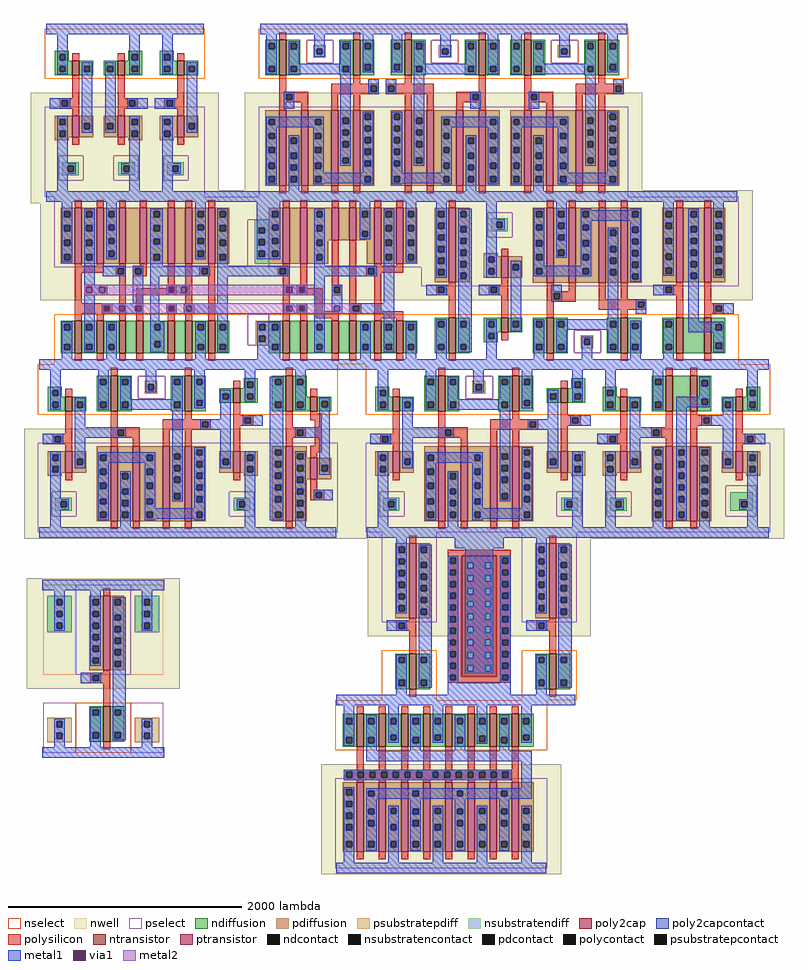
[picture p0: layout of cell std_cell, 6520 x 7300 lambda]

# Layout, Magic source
magic
tech amic5n
use inv_b  inv_b_2
transform 1 0 2810 0 1 -2880
box -130 -45 580 1495
use decap5  decap5_0
transform 1 0 3260 0 1 -2880
box -130 -45 880 1495
use inv_b  inv_b_3
transform 1 0 4010 0 1 -2880
box -130 -45 580 1495
use inv_b  inv_b_1
transform 1 0 185 0 1 -3330
box -130 -45 580 1495
use nwsx  nwsx_0
transform 1 0 635 0 1 -3330
box -130 -45 430 1495
use subc_2  subc_2_0
transform 1 0 -115 0 1 -3330
box -130 -45 430 1495
use buf_b  buf_b_0
transform -1 0 2410 0 -1 0
box -130 -45 730 1495
use and2_b  and2_b_0
transform 1 0 -140 0 -1 0
box -130 -45 2080 1495
use and2_b  and2_b_1
transform 1 0 2670 0 -1 0
box -130 -45 2080 1495
use nand2_b  nand2_b_0
transform 1 0 5100 0 1 0
box -130 -45 880 1495
use inv_b  inv_b_0
transform 1 0 3150 0 1 0
box -130 -45 580 1495
use inv_a  inv_a_0
transform 1 0 3600 0 1 0
box -130 -45 580 1495
use nor2_b  nor2_b_0
transform 1 0 4050 0 1 0
box -130 -45 1180 1495
use dff_b  dff_b_0
transform 1 0 0 0 1 0
box -130 -45 3280 1495
use inv_a  inv_a_3
transform 1 0 820 0 -1 2880
box -130 -45 580 1495
use inv_a  inv_a_2
transform -1 0 820 0 -1 2880
box -130 -45 580 1495
use inv_a  inv_a_1
transform 1 0 -80 0 -1 2880
box -130 -45 580 1495
use nor2_b  nor2_b_3
transform 1 0 3855 0 -1 2880
box -130 -45 1180 1495
use nor2_b  nor2_b_1
transform 1 0 1755 0 -1 2880
box -130 -45 1180 1495
use nor2_b  nor2_b_2
transform -1 0 3855 0 -1 2880
box -130 -45 1180 1495
use inv_d  inv_d_0
transform 1 0 2410 0 -1 -2880
box -130 -45 1930 1495
use or2_b  or2_b_0
transform 1 0 4620 0 -1 0
box -130 -45 1630 1495
<< end >>

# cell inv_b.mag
magic
tech amic5n
<< nwell >>
rect -130 550 580 1495
<< ntransistor >>
rect 225 95 285 400
<< ptransistor >>
rect 225 705 285 1345
<< nselect >>
rect -10 0 460 430
<< pselect >>
rect -10 670 460 1440
<< ndiffusion >>
rect 105 370 225 400
rect 105 320 135 370
rect 185 320 225 370
rect 105 175 225 320
rect 105 125 135 175
rect 185 125 225 175
rect 105 95 225 125
rect 285 370 405 400
rect 285 320 325 370
rect 375 320 405 370
rect 285 175 405 320
rect 285 125 325 175
rect 375 125 405 175
rect 285 95 405 125
<< pdiffusion >>
rect 105 1315 225 1345
rect 105 1265 135 1315
rect 185 1265 225 1315
rect 105 1215 225 1265
rect 105 1165 135 1215
rect 185 1165 225 1215
rect 105 1115 225 1165
rect 105 1065 135 1115
rect 185 1065 225 1115
rect 105 1015 225 1065
rect 105 965 135 1015
rect 185 965 225 1015
rect 105 915 225 965
rect 105 865 135 915
rect 185 865 225 915
rect 105 815 225 865
rect 105 765 135 815
rect 185 765 225 815
rect 105 705 225 765
rect 285 1315 405 1345
rect 285 1265 325 1315
rect 375 1265 405 1315
rect 285 1185 405 1265
rect 285 1135 325 1185
rect 375 1135 405 1185
rect 285 1085 405 1135
rect 285 1035 325 1085
rect 375 1035 405 1085
rect 285 985 405 1035
rect 285 935 325 985
rect 375 935 405 985
rect 285 885 405 935
rect 285 835 325 885
rect 375 835 405 885
rect 285 785 405 835
rect 285 735 325 785
rect 375 735 405 785
rect 285 705 405 735
<< ndcontact >>
rect 135 320 185 370
rect 135 125 185 175
rect 325 320 375 370
rect 325 125 375 175
<< pdcontact >>
rect 135 1265 185 1315
rect 135 1165 185 1215
rect 135 1065 185 1115
rect 135 965 185 1015
rect 135 865 185 915
rect 135 765 185 815
rect 325 1265 375 1315
rect 325 1135 375 1185
rect 325 1035 375 1085
rect 325 935 375 985
rect 325 835 375 885
rect 325 735 375 785
<< polysilicon >>
rect 225 1345 285 1410
rect 225 685 285 705
rect 115 665 285 685
rect 115 615 135 665
rect 185 615 285 665
rect 115 595 285 615
rect 225 400 285 595
rect 225 30 285 95
<< polycontact >>
rect 135 615 185 665
<< metal1 >>
rect 0 1395 450 1485
rect 115 1315 205 1395
rect 115 1265 135 1315
rect 185 1265 205 1315
rect 115 1215 205 1265
rect 115 1165 135 1215
rect 185 1165 205 1215
rect 115 1115 205 1165
rect 115 1065 135 1115
rect 185 1065 205 1115
rect 115 1015 205 1065
rect 115 965 135 1015
rect 185 965 205 1015
rect 115 915 205 965
rect 115 865 135 915
rect 185 865 205 915
rect 115 815 205 865
rect 115 765 135 815
rect 185 765 205 815
rect 115 745 205 765
rect 305 1315 420 1335
rect 305 1265 325 1315
rect 375 1265 420 1315
rect 305 1185 420 1265
rect 305 1135 325 1185
rect 375 1135 420 1185
rect 305 1085 420 1135
rect 305 1035 325 1085
rect 375 1035 420 1085
rect 305 985 420 1035
rect 305 935 325 985
rect 375 935 420 985
rect 305 885 420 935
rect 305 835 325 885
rect 375 835 420 885
rect 305 785 420 835
rect 305 735 325 785
rect 375 735 420 785
rect 30 665 205 685
rect 30 615 135 665
rect 185 615 205 665
rect 30 595 205 615
rect 115 370 205 390
rect 115 320 135 370
rect 185 320 205 370
rect 115 175 205 320
rect 115 125 135 175
rect 185 125 205 175
rect 115 45 205 125
rect 305 370 420 735
rect 305 320 325 370
rect 375 320 420 370
rect 305 175 420 320
rect 305 125 325 175
rect 375 125 420 175
rect 305 105 420 125
rect 0 -45 450 45
<< labels >>
flabel metal1 s 95 1415 95 1415 2 FreeSans 400 0 0 0 vdd
port 2 ne
flabel nwell 395 600 395 600 2 FreeSans 400 0 0 0 vdd
flabel metal1 s 335 470 335 470 2 FreeSans 400 0 0 0 z
port 0 ne
flabel metal1 s 5 5 5 5 2 FreeSans 400 0 0 0 vss
port 3 ne
flabel metal1 s 135 605 135 605 2 FreeSans 400 0 0 0 a
port 1 ne
<< properties >>
string LEFclass CORE
string LEFsite core
string FIXED_BBOX 0 0 450 1440
string LEFsymmetry X Y
<< end >>

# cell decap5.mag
magic
tech amic5n
<< nwell >>
rect -130 550 880 1495
rect 105 150 645 550
<< polysilicon >>
rect 105 1240 645 1290
rect 105 1220 225 1240
rect 105 1170 125 1220
rect 175 1170 225 1220
rect 525 1220 645 1240
rect 105 1120 225 1170
rect 525 1170 575 1220
rect 625 1170 645 1220
rect 105 1070 125 1120
rect 175 1070 225 1120
rect 525 1120 645 1170
rect 525 1070 575 1120
rect 625 1070 645 1120
rect 105 1020 225 1070
rect 525 1020 645 1070
rect 105 970 125 1020
rect 175 970 225 1020
rect 105 920 225 970
rect 525 970 575 1020
rect 625 970 645 1020
rect 105 870 125 920
rect 175 870 225 920
rect 525 920 645 970
rect 105 820 225 870
rect 525 870 575 920
rect 625 870 645 920
rect 105 770 125 820
rect 175 770 225 820
rect 525 820 645 870
rect 105 720 225 770
rect 525 770 575 820
rect 625 770 645 820
rect 105 670 125 720
rect 175 670 225 720
rect 525 720 645 770
rect 105 620 225 670
rect 525 670 575 720
rect 625 670 645 720
rect 105 570 125 620
rect 175 570 225 620
rect 525 620 645 670
rect 105 520 225 570
rect 525 570 575 620
rect 625 570 645 620
rect 525 520 645 570
rect 105 470 125 520
rect 175 470 225 520
rect 525 470 575 520
rect 625 470 645 520
rect 105 420 225 470
rect 105 370 125 420
rect 175 370 225 420
rect 525 420 645 470
rect 105 320 225 370
rect 525 370 575 420
rect 625 370 645 420
rect 105 270 125 320
rect 175 270 225 320
rect 525 320 645 370
rect 105 220 225 270
rect 525 270 575 320
rect 625 270 645 320
rect 105 170 125 220
rect 175 200 225 220
rect 525 220 645 270
rect 525 200 575 220
rect 175 170 575 200
rect 625 170 645 220
rect 105 150 645 170
<< polycontact >>
rect 125 1170 175 1220
rect 575 1170 625 1220
rect 125 1070 175 1120
rect 575 1070 625 1120
rect 125 970 175 1020
rect 575 970 625 1020
rect 125 870 175 920
rect 575 870 625 920
rect 125 770 175 820
rect 575 770 625 820
rect 125 670 175 720
rect 575 670 625 720
rect 125 570 175 620
rect 575 570 625 620
rect 125 470 175 520
rect 575 470 625 520
rect 125 370 175 420
rect 575 370 625 420
rect 125 270 175 320
rect 575 270 625 320
rect 125 170 175 220
rect 575 170 625 220
<< poly2cap >>
rect 225 1180 525 1240
rect 225 1130 275 1180
rect 325 1130 425 1180
rect 475 1130 525 1180
rect 225 1070 525 1130
rect 225 1020 275 1070
rect 325 1020 425 1070
rect 475 1020 525 1070
rect 225 960 525 1020
rect 225 910 275 960
rect 325 910 425 960
rect 475 910 525 960
rect 225 850 525 910
rect 225 800 275 850
rect 325 800 425 850
rect 475 800 525 850
rect 225 740 525 800
rect 225 690 275 740
rect 325 690 425 740
rect 475 690 525 740
rect 225 630 525 690
rect 225 580 275 630
rect 325 580 425 630
rect 475 580 525 630
rect 225 520 525 580
rect 225 470 275 520
rect 325 470 425 520
rect 475 470 525 520
rect 225 410 525 470
rect 225 360 275 410
rect 325 360 425 410
rect 475 360 525 410
rect 225 300 525 360
rect 225 250 275 300
rect 325 250 425 300
rect 475 250 525 300
rect 225 200 525 250
<< poly2capcontact >>
rect 275 1130 325 1180
rect 425 1130 475 1180
rect 275 1020 325 1070
rect 425 1020 475 1070
rect 275 910 325 960
rect 425 910 475 960
rect 275 800 325 850
rect 425 800 475 850
rect 275 690 325 740
rect 425 690 475 740
rect 275 580 325 630
rect 425 580 475 630
rect 275 470 325 520
rect 425 470 475 520
rect 275 360 325 410
rect 425 360 475 410
rect 275 250 325 300
rect 425 250 475 300
<< metal1 >>
rect 0 1395 750 1485
rect 165 1305 585 1395
rect 105 1220 195 1240
rect 105 1170 125 1220
rect 175 1170 195 1220
rect 105 1120 195 1170
rect 105 1070 125 1120
rect 175 1070 195 1120
rect 105 1020 195 1070
rect 105 970 125 1020
rect 175 970 195 1020
rect 105 920 195 970
rect 105 870 125 920
rect 175 870 195 920
rect 105 820 195 870
rect 105 770 125 820
rect 175 770 195 820
rect 105 720 195 770
rect 105 670 125 720
rect 175 670 195 720
rect 105 620 195 670
rect 105 570 125 620
rect 175 570 195 620
rect 105 520 195 570
rect 105 470 125 520
rect 175 470 195 520
rect 105 420 195 470
rect 105 370 125 420
rect 175 370 195 420
rect 105 320 195 370
rect 105 270 125 320
rect 175 270 195 320
rect 105 220 195 270
rect 255 1180 495 1305
rect 255 1130 275 1180
rect 325 1130 425 1180
rect 475 1130 495 1180
rect 255 1070 495 1130
rect 255 1020 275 1070
rect 325 1020 425 1070
rect 475 1020 495 1070
rect 255 960 495 1020
rect 255 910 275 960
rect 325 910 425 960
rect 475 910 495 960
rect 255 850 495 910
rect 255 800 275 850
rect 325 800 425 850
rect 475 800 495 850
rect 255 740 495 800
rect 255 690 275 740
rect 325 690 425 740
rect 475 690 495 740
rect 255 630 495 690
rect 255 580 275 630
rect 325 580 425 630
rect 475 580 495 630
rect 255 520 495 580
rect 255 470 275 520
rect 325 470 425 520
rect 475 470 495 520
rect 255 410 495 470
rect 255 360 275 410
rect 325 360 425 410
rect 475 360 495 410
rect 255 300 495 360
rect 255 250 275 300
rect 325 250 425 300
rect 475 250 495 300
rect 255 230 495 250
rect 555 1220 645 1240
rect 555 1170 575 1220
rect 625 1170 645 1220
rect 555 1120 645 1170
rect 555 1070 575 1120
rect 625 1070 645 1120
rect 555 1020 645 1070
rect 555 970 575 1020
rect 625 970 645 1020
rect 555 920 645 970
rect 555 870 575 920
rect 625 870 645 920
rect 555 820 645 870
rect 555 770 575 820
rect 625 770 645 820
rect 555 720 645 770
rect 555 670 575 720
rect 625 670 645 720
rect 555 620 645 670
rect 555 570 575 620
rect 625 570 645 620
rect 555 520 645 570
rect 555 470 575 520
rect 625 470 645 520
rect 555 420 645 470
rect 555 370 575 420
rect 625 370 645 420
rect 555 320 645 370
rect 555 270 575 320
rect 625 270 645 320
rect 105 170 125 220
rect 175 170 195 220
rect 105 150 195 170
rect 555 220 645 270
rect 555 170 575 220
rect 625 170 645 220
rect 555 150 645 170
rect 105 45 645 150
rect 0 -45 750 45
<< labels >>
flabel metal1 s 95 1415 95 1415 2 FreeSans 400 0 0 0 vdd
port 0 ne
flabel metal1 s 5 5 5 5 2 FreeSans 400 0 0 0 vss
port 1 ne
flabel nwell 5 580 5 580 2 FreeSans 400 0 0 0 vdd
<< properties >>
string LEFclass CORE
string LEFsite core
string FIXED_BBOX 0 0 750 1440
string LEFsymmetry X Y
<< end >>

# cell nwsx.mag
magic
tech amic5n
<< nwell >>
rect -130 550 430 1495
<< nselect >>
rect 10 670 290 1440
<< pselect >>
rect 10 0 290 430
<< psubstratepdiff >>
rect 45 270 255 300
rect 45 220 125 270
rect 175 220 255 270
rect 45 170 255 220
rect 45 120 125 170
rect 175 120 255 170
rect 45 90 255 120
<< nsubstratendiff >>
rect 45 1315 255 1345
rect 45 1265 125 1315
rect 175 1265 255 1315
rect 45 1215 255 1265
rect 45 1165 125 1215
rect 175 1165 255 1215
rect 45 1115 255 1165
rect 45 1065 125 1115
rect 175 1065 255 1115
rect 45 1035 255 1065
<< nsubstratencontact >>
rect 125 1265 175 1315
rect 125 1165 175 1215
rect 125 1065 175 1115
<< psubstratepcontact >>
rect 125 220 175 270
rect 125 120 175 170
<< metal1 >>
rect 0 1395 300 1485
rect 105 1315 195 1395
rect 105 1265 125 1315
rect 175 1265 195 1315
rect 105 1215 195 1265
rect 105 1165 125 1215
rect 175 1165 195 1215
rect 105 1115 195 1165
rect 105 1065 125 1115
rect 175 1065 195 1115
rect 105 1045 195 1065
rect 105 270 195 290
rect 105 220 125 270
rect 175 220 195 270
rect 105 170 195 220
rect 105 120 125 170
rect 175 120 195 170
rect 105 45 195 120
rect 0 -45 300 45
<< labels >>
flabel metal1 s 95 1415 95 1415 2 FreeSans 400 0 0 0 vdd
port 0 ne
flabel metal1 s 105 25 105 25 2 FreeSans 400 0 0 0 vss
port 1 ne
flabel nwell 10 575 10 575 2 FreeSans 400 0 0 0 vdd
<< properties >>
string FIXED_BBOX 0 0 300 1440
string LEFsite core
string LEFclass CORE
string LEFsymmetry X Y
<< end >>

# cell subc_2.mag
magic
tech amic5n
<< nwell >>
rect -130 550 430 1495
<< nselect >>
rect 10 670 290 1440
<< pselect >>
rect 10 0 290 430
<< psubstratepdiff >>
rect 45 270 255 300
rect 45 220 125 270
rect 175 220 255 270
rect 45 170 255 220
rect 45 120 125 170
rect 175 120 255 170
rect 45 90 255 120
<< nsubstratendiff >>
rect 45 1315 255 1345
rect 45 1265 125 1315
rect 175 1265 255 1315
rect 45 1215 255 1265
rect 45 1165 125 1215
rect 175 1165 255 1215
rect 45 1115 255 1165
rect 45 1065 125 1115
rect 175 1065 255 1115
rect 45 1035 255 1065
<< nsubstratencontact >>
rect 125 1265 175 1315
rect 125 1165 175 1215
rect 125 1065 175 1115
<< psubstratepcontact >>
rect 125 220 175 270
rect 125 120 175 170
<< metal1 >>
rect 0 1395 300 1485
rect 105 1315 195 1395
rect 105 1265 125 1315
rect 175 1265 195 1315
rect 105 1215 195 1265
rect 105 1165 125 1215
rect 175 1165 195 1215
rect 105 1115 195 1165
rect 105 1065 125 1115
rect 175 1065 195 1115
rect 105 1045 195 1065
rect 105 270 195 290
rect 105 220 125 270
rect 175 220 195 270
rect 105 170 195 220
rect 105 120 125 170
rect 175 120 195 170
rect 105 45 195 120
rect 0 -45 300 45
<< labels >>
flabel metal1 s 105 -25 105 -25 2 FreeSans 400 0 0 0 vss
port 12 ne
flabel metal1 s 95 1415 95 1415 2 FreeSans 400 0 0 0 vdd
port 11 ne
flabel nwell -80 575 -80 575 2 FreeSans 400 0 0 0 vdd
<< end >>

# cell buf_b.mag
magic
tech amic5n
<< nwell >>
rect -130 550 730 1495
<< ntransistor >>
rect 165 275 225 400
rect 375 95 435 400
<< ptransistor >>
rect 165 800 225 985
rect 375 700 435 1345
<< nselect >>
rect -10 0 610 430
<< pselect >>
rect -10 670 610 1440
<< ndiffusion >>
rect 45 365 165 400
rect 45 315 75 365
rect 125 315 165 365
rect 45 275 165 315
rect 225 370 375 400
rect 225 320 285 370
rect 335 320 375 370
rect 225 275 375 320
rect 255 175 375 275
rect 255 125 285 175
rect 335 125 375 175
rect 255 95 375 125
rect 435 370 555 400
rect 435 320 475 370
rect 525 320 555 370
rect 435 175 555 320
rect 435 125 475 175
rect 525 125 555 175
rect 435 95 555 125
<< pdiffusion >>
rect 255 1315 375 1345
rect 255 1265 285 1315
rect 335 1265 375 1315
rect 255 1215 375 1265
rect 255 1165 285 1215
rect 335 1165 375 1215
rect 255 1115 375 1165
rect 255 1065 285 1115
rect 335 1065 375 1115
rect 255 1015 375 1065
rect 255 985 285 1015
rect 45 915 165 985
rect 45 865 75 915
rect 125 865 165 915
rect 45 800 165 865
rect 225 965 285 985
rect 335 965 375 1015
rect 225 915 375 965
rect 225 865 285 915
rect 335 865 375 915
rect 225 815 375 865
rect 225 800 285 815
rect 255 765 285 800
rect 335 765 375 815
rect 255 700 375 765
rect 435 1315 555 1345
rect 435 1265 475 1315
rect 525 1265 555 1315
rect 435 1180 555 1265
rect 435 1130 475 1180
rect 525 1130 555 1180
rect 435 1080 555 1130
rect 435 1030 475 1080
rect 525 1030 555 1080
rect 435 980 555 1030
rect 435 930 475 980
rect 525 930 555 980
rect 435 880 555 930
rect 435 830 475 880
rect 525 830 555 880
rect 435 780 555 830
rect 435 730 475 780
rect 525 730 555 780
rect 435 700 555 730
<< ndcontact >>
rect 75 315 125 365
rect 285 320 335 370
rect 285 125 335 175
rect 475 320 525 370
rect 475 125 525 175
<< pdcontact >>
rect 285 1265 335 1315
rect 285 1165 335 1215
rect 285 1065 335 1115
rect 75 865 125 915
rect 285 965 335 1015
rect 285 865 335 915
rect 285 765 335 815
rect 475 1265 525 1315
rect 475 1130 525 1180
rect 475 1030 525 1080
rect 475 930 525 980
rect 475 830 525 880
rect 475 730 525 780
<< polysilicon >>
rect 375 1345 435 1410
rect 105 1145 225 1165
rect 105 1095 125 1145
rect 175 1095 225 1145
rect 105 1075 225 1095
rect 165 985 225 1075
rect 165 755 225 800
rect 125 695 225 755
rect 125 480 185 695
rect 375 630 435 700
rect 265 610 435 630
rect 265 560 285 610
rect 335 560 435 610
rect 265 540 435 560
rect 125 420 225 480
rect 165 400 225 420
rect 375 400 435 540
rect 165 210 225 275
rect 375 30 435 95
<< polycontact >>
rect 125 1095 175 1145
rect 285 560 335 610
<< metal1 >>
rect 0 1395 600 1485
rect 265 1315 355 1395
rect 265 1265 285 1315
rect 335 1265 355 1315
rect 265 1215 355 1265
rect 265 1165 285 1215
rect 335 1165 355 1215
rect 30 1145 195 1165
rect 30 1095 125 1145
rect 175 1095 195 1145
rect 30 1075 195 1095
rect 265 1115 355 1165
rect 265 1065 285 1115
rect 335 1065 355 1115
rect 265 1015 355 1065
rect 265 965 285 1015
rect 335 965 355 1015
rect 55 915 145 945
rect 55 865 75 915
rect 125 865 145 915
rect 55 630 145 865
rect 265 915 355 965
rect 265 865 285 915
rect 335 865 355 915
rect 265 815 355 865
rect 265 765 285 815
rect 335 765 355 815
rect 265 745 355 765
rect 455 1315 570 1335
rect 455 1265 475 1315
rect 525 1265 570 1315
rect 455 1180 570 1265
rect 455 1130 475 1180
rect 525 1130 570 1180
rect 455 1080 570 1130
rect 455 1030 475 1080
rect 525 1030 570 1080
rect 455 980 570 1030
rect 455 930 475 980
rect 525 930 570 980
rect 455 880 570 930
rect 455 830 475 880
rect 525 830 570 880
rect 455 780 570 830
rect 455 730 475 780
rect 525 730 570 780
rect 55 610 355 630
rect 55 560 285 610
rect 335 560 355 610
rect 55 540 355 560
rect 55 365 145 540
rect 55 315 75 365
rect 125 315 145 365
rect 55 285 145 315
rect 265 370 355 390
rect 265 320 285 370
rect 335 320 355 370
rect 265 175 355 320
rect 265 125 285 175
rect 335 125 355 175
rect 265 45 355 125
rect 455 370 570 730
rect 455 320 475 370
rect 525 320 570 370
rect 455 175 570 320
rect 455 125 475 175
rect 525 125 570 175
rect 455 105 570 125
rect 0 -45 600 45
<< labels >>
flabel metal1 s 245 1415 245 1415 2 FreeSans 400 0 0 0 vdd
port 2 ne
flabel metal1 s 485 470 485 470 2 FreeSans 400 0 0 0 z
port 0 ne
flabel metal1 s 125 1085 125 1085 2 FreeSans 400 0 0 0 a
port 1 ne
flabel nwell 10 600 10 600 2 FreeSans 400 0 0 0 vdd
flabel metal1 s 5 5 5 5 2 FreeSans 400 0 0 0 vss
port 3 ne
<< properties >>
string LEFclass CORE
string LEFsite core
string FIXED_BBOX 0 0 600 1440
string LEFsymmetry X Y
<< end >>

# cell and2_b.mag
magic
tech amic5n
<< nwell >>
rect -130 550 2080 1495
<< ntransistor >>
rect 225 275 285 400
rect 615 95 675 400
rect 1250 95 1310 400
rect 1665 205 1725 330
<< ptransistor >>
rect 225 745 285 930
rect 615 700 675 1345
rect 805 700 865 1345
rect 1060 700 1120 1345
rect 1250 700 1310 1345
rect 1665 745 1725 930
<< nselect >>
rect 110 1090 320 1300
rect 1630 1090 1840 1300
rect -10 295 1960 430
rect -10 100 850 295
rect 1080 100 1960 295
rect -10 0 1960 100
<< pselect >>
rect -10 1300 1960 1440
rect -10 1090 110 1300
rect 320 1090 1630 1300
rect 1840 1090 1960 1300
rect -10 670 1960 1090
rect 850 100 1080 295
<< ndiffusion >>
rect 75 370 225 400
rect 75 320 115 370
rect 165 320 225 370
rect 75 275 225 320
rect 285 370 405 400
rect 285 320 325 370
rect 375 320 405 370
rect 285 275 405 320
rect 495 370 615 400
rect 495 320 525 370
rect 575 320 615 370
rect 75 270 195 275
rect 75 220 115 270
rect 165 220 195 270
rect 75 190 195 220
rect 495 175 615 320
rect 495 125 525 175
rect 575 125 615 175
rect 495 95 615 125
rect 675 370 795 400
rect 675 320 715 370
rect 765 320 795 370
rect 675 175 795 320
rect 1130 370 1250 400
rect 1130 320 1160 370
rect 1210 320 1250 370
rect 675 125 715 175
rect 765 125 795 175
rect 1130 175 1250 320
rect 675 95 795 125
rect 1130 125 1160 175
rect 1210 125 1250 175
rect 1130 95 1250 125
rect 1310 355 1430 400
rect 1310 305 1350 355
rect 1400 305 1430 355
rect 1310 175 1430 305
rect 1545 300 1665 330
rect 1545 250 1575 300
rect 1625 250 1665 300
rect 1545 205 1665 250
rect 1725 300 1875 330
rect 1725 250 1785 300
rect 1835 250 1875 300
rect 1725 205 1875 250
rect 1310 125 1350 175
rect 1400 125 1430 175
rect 1755 200 1875 205
rect 1755 150 1785 200
rect 1835 150 1875 200
rect 1310 95 1430 125
rect 1755 120 1875 150
<< pdiffusion >>
rect 495 1315 615 1345
rect 495 1265 525 1315
rect 575 1265 615 1315
rect 495 1200 615 1265
rect 495 1150 525 1200
rect 575 1150 615 1200
rect 495 1065 615 1150
rect 495 1015 525 1065
rect 575 1015 615 1065
rect 75 930 195 955
rect 495 945 615 1015
rect 75 925 225 930
rect 75 875 115 925
rect 165 875 225 925
rect 75 825 225 875
rect 75 775 115 825
rect 165 775 225 825
rect 75 745 225 775
rect 285 860 405 930
rect 285 810 325 860
rect 375 810 405 860
rect 285 745 405 810
rect 495 895 525 945
rect 575 895 615 945
rect 495 825 615 895
rect 495 775 525 825
rect 575 775 615 825
rect 495 700 615 775
rect 675 1315 805 1345
rect 675 1265 715 1315
rect 765 1265 805 1315
rect 675 1215 805 1265
rect 675 1165 715 1215
rect 765 1165 805 1215
rect 675 1115 805 1165
rect 675 1065 715 1115
rect 765 1065 805 1115
rect 675 985 805 1065
rect 675 935 715 985
rect 765 935 805 985
rect 675 700 805 935
rect 865 1315 1060 1345
rect 865 1265 925 1315
rect 975 1265 1060 1315
rect 865 1200 1060 1265
rect 865 1150 925 1200
rect 975 1150 1060 1200
rect 865 1065 1060 1150
rect 865 1015 925 1065
rect 975 1015 1060 1065
rect 865 945 1060 1015
rect 865 895 925 945
rect 975 895 1060 945
rect 865 825 1060 895
rect 865 775 925 825
rect 975 775 1060 825
rect 865 700 1060 775
rect 1120 1155 1250 1345
rect 1120 1105 1160 1155
rect 1210 1105 1250 1155
rect 1120 1015 1250 1105
rect 1120 965 1160 1015
rect 1210 965 1250 1015
rect 1120 915 1250 965
rect 1120 865 1160 915
rect 1210 865 1250 915
rect 1120 815 1250 865
rect 1120 765 1160 815
rect 1210 765 1250 815
rect 1120 700 1250 765
rect 1310 1315 1430 1345
rect 1310 1265 1350 1315
rect 1400 1265 1430 1315
rect 1310 1180 1430 1265
rect 1310 1130 1350 1180
rect 1400 1130 1430 1180
rect 1310 1080 1430 1130
rect 1310 1030 1350 1080
rect 1400 1030 1430 1080
rect 1310 980 1430 1030
rect 1310 930 1350 980
rect 1400 930 1430 980
rect 1755 930 1875 955
rect 1310 880 1430 930
rect 1310 830 1350 880
rect 1400 830 1430 880
rect 1310 780 1430 830
rect 1310 730 1350 780
rect 1400 730 1430 780
rect 1545 860 1665 930
rect 1545 810 1575 860
rect 1625 810 1665 860
rect 1545 745 1665 810
rect 1725 925 1875 930
rect 1725 875 1785 925
rect 1835 875 1875 925
rect 1725 825 1875 875
rect 1725 775 1785 825
rect 1835 775 1875 825
rect 1725 745 1875 775
rect 1310 700 1430 730
<< psubstratepdiff >>
rect 905 220 1015 250
rect 905 170 935 220
rect 985 170 1015 220
rect 905 140 1015 170
<< nsubstratendiff >>
rect 140 1225 280 1255
rect 140 1175 185 1225
rect 235 1175 280 1225
rect 140 1145 280 1175
rect 1670 1225 1810 1255
rect 1670 1175 1715 1225
rect 1765 1175 1810 1225
rect 1670 1145 1810 1175
<< nsubstratencontact >>
rect 185 1175 235 1225
rect 1715 1175 1765 1225
<< psubstratepcontact >>
rect 935 170 985 220
<< ndcontact >>
rect 115 320 165 370
rect 325 320 375 370
rect 525 320 575 370
rect 115 220 165 270
rect 525 125 575 175
rect 715 320 765 370
rect 1160 320 1210 370
rect 715 125 765 175
rect 1160 125 1210 175
rect 1350 305 1400 355
rect 1575 250 1625 300
rect 1785 250 1835 300
rect 1350 125 1400 175
rect 1785 150 1835 200
<< pdcontact >>
rect 525 1265 575 1315
rect 525 1150 575 1200
rect 525 1015 575 1065
rect 115 875 165 925
rect 115 775 165 825
rect 325 810 375 860
rect 525 895 575 945
rect 525 775 575 825
rect 715 1265 765 1315
rect 715 1165 765 1215
rect 715 1065 765 1115
rect 715 935 765 985
rect 925 1265 975 1315
rect 925 1150 975 1200
rect 925 1015 975 1065
rect 925 895 975 945
rect 925 775 975 825
rect 1160 1105 1210 1155
rect 1160 965 1210 1015
rect 1160 865 1210 915
rect 1160 765 1210 815
rect 1350 1265 1400 1315
rect 1350 1130 1400 1180
rect 1350 1030 1400 1080
rect 1350 930 1400 980
rect 1350 830 1400 880
rect 1350 730 1400 780
rect 1575 810 1625 860
rect 1785 875 1835 925
rect 1785 775 1835 825
<< polysilicon >>
rect 615 1345 675 1410
rect 805 1345 865 1410
rect 1060 1345 1120 1410
rect 1250 1345 1310 1410
rect 225 930 285 995
rect 225 685 285 745
rect 1665 930 1725 995
rect 115 665 285 685
rect 115 615 135 665
rect 185 615 285 665
rect 115 595 285 615
rect 225 400 285 595
rect 615 630 675 700
rect 805 630 865 700
rect 615 610 865 630
rect 615 560 675 610
rect 725 560 865 610
rect 615 540 865 560
rect 1060 560 1120 700
rect 1250 560 1310 700
rect 1060 540 1470 560
rect 615 400 675 540
rect 1060 490 1400 540
rect 1450 490 1470 540
rect 1060 470 1470 490
rect 1665 525 1725 745
rect 1665 505 1835 525
rect 1250 400 1310 470
rect 1665 455 1765 505
rect 1815 455 1835 505
rect 1665 435 1835 455
rect 225 210 285 275
rect 1665 330 1725 435
rect 1665 140 1725 205
rect 615 30 675 95
rect 1250 30 1310 95
<< polycontact >>
rect 135 615 185 665
rect 675 560 725 610
rect 1400 490 1450 540
rect 1765 455 1815 505
<< metal1 >>
rect 0 1395 1950 1485
rect 95 1245 185 1395
rect 505 1315 595 1335
rect 505 1265 525 1315
rect 575 1265 595 1315
rect 95 1225 255 1245
rect 95 1175 185 1225
rect 235 1175 255 1225
rect 95 1155 255 1175
rect 505 1200 595 1265
rect 95 925 185 1155
rect 95 875 115 925
rect 165 875 185 925
rect 505 1150 525 1200
rect 575 1150 595 1200
rect 505 1065 595 1150
rect 505 1015 525 1065
rect 575 1015 595 1065
rect 505 945 595 1015
rect 505 895 525 945
rect 575 895 595 945
rect 695 1315 785 1395
rect 695 1265 715 1315
rect 765 1265 785 1315
rect 695 1215 785 1265
rect 695 1165 715 1215
rect 765 1165 785 1215
rect 695 1115 785 1165
rect 695 1065 715 1115
rect 765 1065 785 1115
rect 695 985 785 1065
rect 695 935 715 985
rect 765 935 785 985
rect 695 915 785 935
rect 905 1325 995 1335
rect 1330 1325 1420 1335
rect 905 1315 1420 1325
rect 905 1265 925 1315
rect 975 1265 1350 1315
rect 1400 1265 1420 1315
rect 905 1235 1420 1265
rect 1765 1245 1855 1395
rect 905 1200 995 1235
rect 905 1150 925 1200
rect 975 1150 995 1200
rect 1330 1180 1420 1235
rect 905 1065 995 1150
rect 905 1015 925 1065
rect 975 1015 995 1065
rect 905 945 995 1015
rect 95 825 185 875
rect 95 775 115 825
rect 165 775 185 825
rect 95 745 185 775
rect 305 860 395 890
rect 305 810 325 860
rect 375 810 395 860
rect 30 665 205 685
rect 30 615 135 665
rect 185 615 205 665
rect 30 595 205 615
rect 305 630 395 810
rect 505 845 595 895
rect 905 895 925 945
rect 975 895 995 945
rect 905 845 995 895
rect 505 825 995 845
rect 505 775 525 825
rect 575 775 925 825
rect 975 775 995 825
rect 505 755 995 775
rect 1140 1155 1230 1175
rect 1140 1105 1160 1155
rect 1210 1105 1230 1155
rect 1140 1015 1230 1105
rect 1140 965 1160 1015
rect 1210 965 1230 1015
rect 1140 915 1230 965
rect 1140 865 1160 915
rect 1210 865 1230 915
rect 1140 815 1230 865
rect 1140 765 1160 815
rect 1210 765 1230 815
rect 305 610 745 630
rect 305 560 675 610
rect 725 560 745 610
rect 305 540 745 560
rect 95 370 185 390
rect 95 320 115 370
rect 165 320 185 370
rect 95 270 185 320
rect 305 370 395 540
rect 1140 390 1230 765
rect 1330 1130 1350 1180
rect 1400 1130 1420 1180
rect 1695 1225 1855 1245
rect 1695 1175 1715 1225
rect 1765 1175 1855 1225
rect 1695 1155 1855 1175
rect 1330 1080 1420 1130
rect 1330 1030 1350 1080
rect 1400 1030 1420 1080
rect 1330 980 1420 1030
rect 1330 930 1350 980
rect 1400 930 1420 980
rect 1330 880 1420 930
rect 1765 925 1855 1155
rect 1330 830 1350 880
rect 1400 830 1420 880
rect 1330 780 1420 830
rect 1330 730 1350 780
rect 1400 730 1420 780
rect 1330 710 1420 730
rect 1555 860 1645 890
rect 1555 810 1575 860
rect 1625 810 1645 860
rect 1555 560 1645 810
rect 1765 875 1785 925
rect 1835 875 1855 925
rect 1765 825 1855 875
rect 1765 775 1785 825
rect 1835 775 1855 825
rect 1765 745 1855 775
rect 1380 540 1645 560
rect 1380 490 1400 540
rect 1450 490 1645 540
rect 1380 470 1645 490
rect 305 320 325 370
rect 375 320 395 370
rect 305 285 395 320
rect 505 370 595 390
rect 505 320 525 370
rect 575 320 595 370
rect 95 220 115 270
rect 165 220 185 270
rect 95 45 185 220
rect 505 175 595 320
rect 505 125 525 175
rect 575 125 595 175
rect 505 45 595 125
rect 695 370 1230 390
rect 695 320 715 370
rect 765 320 1160 370
rect 1210 320 1230 370
rect 695 300 1230 320
rect 695 175 785 300
rect 695 125 715 175
rect 765 125 785 175
rect 695 105 785 125
rect 915 220 1005 240
rect 915 170 935 220
rect 985 170 1005 220
rect 915 45 1005 170
rect 1140 175 1230 300
rect 1140 125 1160 175
rect 1210 125 1230 175
rect 1140 105 1230 125
rect 1330 355 1420 375
rect 1330 305 1350 355
rect 1400 305 1420 355
rect 1330 175 1420 305
rect 1555 300 1645 470
rect 1745 505 1920 525
rect 1745 455 1765 505
rect 1815 455 1920 505
rect 1745 435 1920 455
rect 1555 250 1575 300
rect 1625 250 1645 300
rect 1555 215 1645 250
rect 1765 300 1855 320
rect 1765 250 1785 300
rect 1835 250 1855 300
rect 1330 125 1350 175
rect 1400 125 1420 175
rect 1330 45 1420 125
rect 1765 200 1855 250
rect 1765 150 1785 200
rect 1835 150 1855 200
rect 1765 45 1855 150
rect 0 -45 1950 45
<< labels >>
flabel metal1 s 1170 1045 1170 1045 2 FreeSans 400 0 0 0 z
port 0 ne
flabel metal1 s 50 615 50 615 2 FreeSans 400 0 0 0 a
port 1 ne
flabel metal1 s 206 1415 206 1415 2 FreeSans 400 0 0 0 vdd
port 3 ne
flabel metal1 s 1860 465 1860 465 2 FreeSans 400 0 0 0 b
port 2 ne
flabel nwell 10 555 10 555 2 FreeSans 400 0 0 0 vdd
flabel metal1 s 6 5 6 5 2 FreeSans 400 0 0 0 vss
port 4 ne
<< properties >>
string FIXED_BBOX 0 0 1950 1440
string LEFsite core
string LEFclass CORE
string LEFsymmetry X Y
<< end >>

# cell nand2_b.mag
magic
tech amic5n
<< nwell >>
rect -130 550 880 1495
<< ntransistor >>
rect 225 95 285 400
rect 465 95 525 400
<< ptransistor >>
rect 225 705 285 1345
rect 465 705 525 1345
<< nselect >>
rect -10 0 760 430
<< pselect >>
rect -10 670 760 1440
<< ndiffusion >>
rect 105 370 225 400
rect 105 320 135 370
rect 185 320 225 370
rect 105 175 225 320
rect 105 125 135 175
rect 185 125 225 175
rect 105 95 225 125
rect 285 95 465 400
rect 525 345 645 400
rect 525 295 565 345
rect 615 295 645 345
rect 525 185 645 295
rect 525 135 565 185
rect 615 135 645 185
rect 525 95 645 135
<< pdiffusion >>
rect 105 1315 225 1345
rect 105 1265 135 1315
rect 185 1265 225 1315
rect 105 1215 225 1265
rect 105 1165 135 1215
rect 185 1165 225 1215
rect 105 1085 225 1165
rect 105 1035 135 1085
rect 185 1035 225 1085
rect 105 950 225 1035
rect 105 900 135 950
rect 185 900 225 950
rect 105 830 225 900
rect 105 780 135 830
rect 185 780 225 830
rect 105 705 225 780
rect 285 1315 465 1345
rect 285 1265 350 1315
rect 400 1265 465 1315
rect 285 1185 465 1265
rect 285 1135 350 1185
rect 400 1135 465 1185
rect 285 1085 465 1135
rect 285 1035 350 1085
rect 400 1035 465 1085
rect 285 985 465 1035
rect 285 935 350 985
rect 400 935 465 985
rect 285 885 465 935
rect 285 835 350 885
rect 400 835 465 885
rect 285 785 465 835
rect 285 735 350 785
rect 400 735 465 785
rect 285 705 465 735
rect 525 1315 645 1345
rect 525 1265 565 1315
rect 615 1265 645 1315
rect 525 1215 645 1265
rect 525 1165 565 1215
rect 615 1165 645 1215
rect 525 1115 645 1165
rect 525 1065 565 1115
rect 615 1065 645 1115
rect 525 1015 645 1065
rect 525 965 565 1015
rect 615 965 645 1015
rect 525 915 645 965
rect 525 865 565 915
rect 615 865 645 915
rect 525 815 645 865
rect 525 765 565 815
rect 615 765 645 815
rect 525 705 645 765
<< ndcontact >>
rect 135 320 185 370
rect 135 125 185 175
rect 565 295 615 345
rect 565 135 615 185
<< pdcontact >>
rect 135 1265 185 1315
rect 135 1165 185 1215
rect 135 1035 185 1085
rect 135 900 185 950
rect 135 780 185 830
rect 350 1265 400 1315
rect 350 1135 400 1185
rect 350 1035 400 1085
rect 350 935 400 985
rect 350 835 400 885
rect 350 735 400 785
rect 565 1265 615 1315
rect 565 1165 615 1215
rect 565 1065 615 1115
rect 565 965 615 1015
rect 565 865 615 915
rect 565 765 615 815
<< polysilicon >>
rect 225 1345 285 1410
rect 465 1345 525 1410
rect 225 685 285 705
rect 115 665 285 685
rect 115 615 135 665
rect 185 615 285 665
rect 115 595 285 615
rect 225 400 285 595
rect 465 525 525 705
rect 465 505 635 525
rect 465 455 565 505
rect 615 455 635 505
rect 465 435 635 455
rect 465 400 525 435
rect 225 30 285 95
rect 465 30 525 95
<< polycontact >>
rect 135 615 185 665
rect 565 455 615 505
<< metal1 >>
rect 0 1395 750 1485
rect 115 1315 205 1395
rect 115 1265 135 1315
rect 185 1265 205 1315
rect 115 1215 205 1265
rect 115 1165 135 1215
rect 185 1165 205 1215
rect 115 1085 205 1165
rect 115 1035 135 1085
rect 185 1035 205 1085
rect 115 950 205 1035
rect 115 900 135 950
rect 185 900 205 950
rect 115 830 205 900
rect 115 780 135 830
rect 185 780 205 830
rect 115 760 205 780
rect 330 1315 420 1335
rect 330 1265 350 1315
rect 400 1265 420 1315
rect 330 1185 420 1265
rect 330 1135 350 1185
rect 400 1135 420 1185
rect 330 1085 420 1135
rect 330 1035 350 1085
rect 400 1035 420 1085
rect 330 985 420 1035
rect 330 935 350 985
rect 400 935 420 985
rect 330 885 420 935
rect 330 835 350 885
rect 400 835 420 885
rect 330 785 420 835
rect 330 735 350 785
rect 400 735 420 785
rect 545 1315 635 1395
rect 545 1265 565 1315
rect 615 1265 635 1315
rect 545 1215 635 1265
rect 545 1165 565 1215
rect 615 1165 635 1215
rect 545 1115 635 1165
rect 545 1065 565 1115
rect 615 1065 635 1115
rect 545 1015 635 1065
rect 545 965 565 1015
rect 615 965 635 1015
rect 545 915 635 965
rect 545 865 565 915
rect 615 865 635 915
rect 545 815 635 865
rect 545 765 565 815
rect 615 765 635 815
rect 545 745 635 765
rect 30 665 205 685
rect 30 615 135 665
rect 185 615 205 665
rect 30 595 205 615
rect 115 370 205 390
rect 115 320 135 370
rect 185 320 205 370
rect 115 175 205 320
rect 330 365 420 735
rect 545 505 720 525
rect 545 455 565 505
rect 615 455 720 505
rect 545 435 720 455
rect 330 345 635 365
rect 330 295 565 345
rect 615 295 635 345
rect 330 275 635 295
rect 115 125 135 175
rect 185 125 205 175
rect 115 45 205 125
rect 545 185 635 275
rect 545 135 565 185
rect 615 135 635 185
rect 545 105 635 135
rect 0 -45 750 45
<< labels >>
flabel metal1 s 360 470 360 470 2 FreeSans 400 0 0 0 z
port 0 ne
flabel metal1 s 616 445 616 445 2 FreeSans 400 0 0 0 b
port 2 ne
flabel metal1 s 95 1415 95 1415 2 FreeSans 400 0 0 0 vdd
port 3 ne
flabel metal1 s 5 5 5 5 2 FreeSans 400 0 0 0 vss
port 4 ne
flabel nwell 5 585 5 585 2 FreeSans 400 0 0 0 vdd
flabel metal1 s 135 605 135 605 2 FreeSans 400 0 0 0 a
port 1 ne
<< properties >>
string LEFclass CORE
string LEFsite core
string FIXED_BBOX 0 0 750 1440
string LEFsymmetry X Y
<< end >>

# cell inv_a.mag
magic
tech amic5n
<< nwell >>
rect -130 550 580 1495
<< ntransistor >>
rect 225 275 285 400
<< ptransistor >>
rect 225 745 285 930
<< nselect >>
rect 110 1090 320 1300
rect -10 0 460 430
<< pselect >>
rect -10 1300 460 1440
rect -10 1090 110 1300
rect 320 1090 460 1300
rect -10 670 460 1090
<< ndiffusion >>
rect 75 370 225 400
rect 75 320 115 370
rect 165 320 225 370
rect 75 275 225 320
rect 285 370 405 400
rect 285 320 325 370
rect 375 320 405 370
rect 285 275 405 320
rect 75 270 195 275
rect 75 220 115 270
rect 165 220 195 270
rect 75 190 195 220
<< pdiffusion >>
rect 75 930 195 955
rect 75 925 225 930
rect 75 875 115 925
rect 165 875 225 925
rect 75 825 225 875
rect 75 775 115 825
rect 165 775 225 825
rect 75 745 225 775
rect 285 860 405 930
rect 285 810 325 860
rect 375 810 405 860
rect 285 745 405 810
<< nsubstratendiff >>
rect 140 1225 280 1255
rect 140 1175 185 1225
rect 235 1175 280 1225
rect 140 1145 280 1175
<< nsubstratencontact >>
rect 185 1175 235 1225
<< ndcontact >>
rect 115 320 165 370
rect 325 320 375 370
rect 115 220 165 270
<< pdcontact >>
rect 115 875 165 925
rect 115 775 165 825
rect 325 810 375 860
<< polysilicon >>
rect 225 930 285 995
rect 225 685 285 745
rect 115 665 285 685
rect 115 615 135 665
rect 185 615 285 665
rect 115 595 285 615
rect 225 400 285 595
rect 225 210 285 275
<< polycontact >>
rect 135 615 185 665
<< metal1 >>
rect 0 1395 450 1485
rect 95 1245 185 1395
rect 95 1225 255 1245
rect 95 1175 185 1225
rect 235 1175 255 1225
rect 95 1155 255 1175
rect 95 925 185 1155
rect 95 875 115 925
rect 165 875 185 925
rect 95 825 185 875
rect 95 775 115 825
rect 165 775 185 825
rect 95 745 185 775
rect 305 860 395 890
rect 305 810 325 860
rect 375 810 395 860
rect 30 665 205 685
rect 30 615 135 665
rect 185 615 205 665
rect 30 595 205 615
rect 95 370 185 390
rect 95 320 115 370
rect 165 320 185 370
rect 95 270 185 320
rect 305 370 395 810
rect 305 320 325 370
rect 375 320 395 370
rect 305 285 395 320
rect 95 220 115 270
rect 165 220 185 270
rect 95 45 185 220
rect 0 -45 450 45
<< labels >>
flabel metal1 s 206 1415 206 1415 2 FreeSans 400 0 0 0 vdd
port 2 ne
flabel metal1 s 361 495 361 495 2 FreeSans 400 0 0 0 z
port 0 ne
flabel metal1 s 50 615 50 615 2 FreeSans 400 0 0 0 a
port 1 ne
flabel nwell 30 555 30 555 2 FreeSans 400 0 0 0 vdd
flabel metal1 s 6 5 6 5 2 FreeSans 400 0 0 0 vss
port 3 ne
<< properties >>
string FIXED_BBOX 0 0 450 1440
string LEFsite core
string LEFclass CORE
string LEFsymmetry X Y
<< end >>

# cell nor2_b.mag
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
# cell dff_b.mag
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
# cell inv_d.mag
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
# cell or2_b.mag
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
